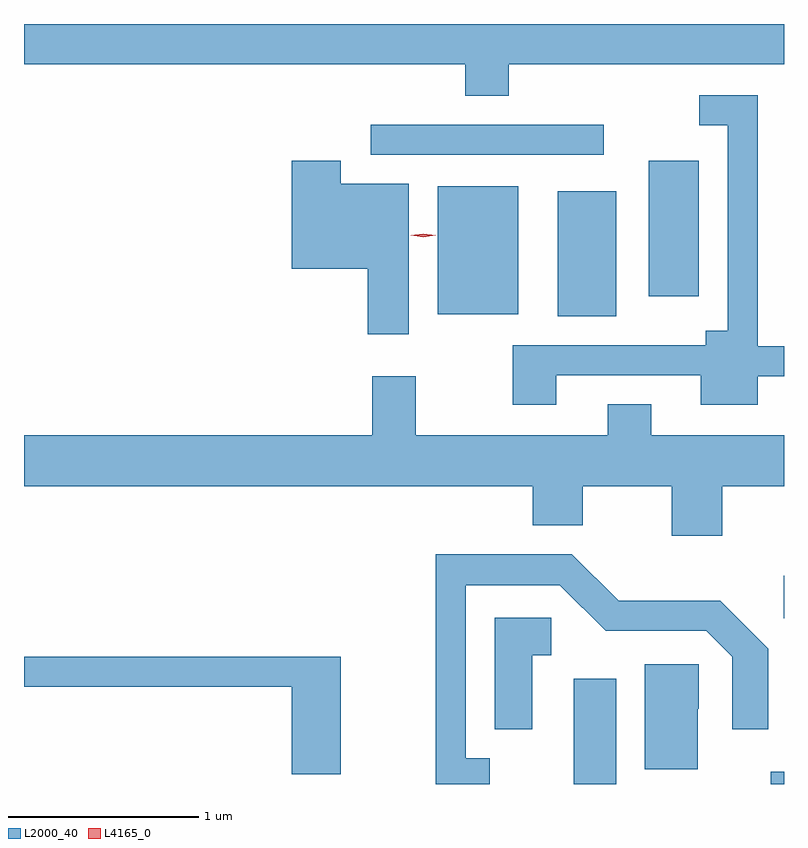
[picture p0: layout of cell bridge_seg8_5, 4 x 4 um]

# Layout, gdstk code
import gdstk
lib = gdstk.Library(unit=1e-6, precision=1e-09)
def R(c, l, rs):  # rectangles x0, y0, x1, y1
    for r in rs: c.add(gdstk.rectangle(r[:2], r[2:], *l))
def P(c, l, *ps):  # polygons
    for p in ps: c.add(gdstk.Polygon(p, *l))
L2000_40 = (2000, 40)
L4165_0 = (4165, 0)

bridge_seg8_5 = lib.new_cell('bridge_seg8_5')
R(bridge_seg8_5, L2000_40, [(1667.521,1890.349,1667.744,1890.904), (1668.558,1890.349,1668.628,1890.414), (1668.626,1891.221,1668.628,1891.445), (1667.436,1892.811,1667.744,1893.469), (1666.806,1892.821,1667.229,1893.494), (1667.916,1892.916,1668.179,1893.629), (1666.453,1893.661,1667.678,1893.819)])
P(bridge_seg8_5, L2000_40, [(1667.179,1894.136),(1668.628,1894.136),(1668.628,1894.349),(1664.628,1894.349),(1664.628,1894.136),(1666.951,1894.136),(1666.951,1893.971),(1667.179,1893.971)],
  [(1667.429,1892.501),(1668.191,1892.501),(1668.191,1892.346),(1668.489,1892.346),(1668.489,1892.496),(1668.628,1892.496),(1668.628,1892.654),(1668.489,1892.654),(1668.489,1893.974),(1668.183,1893.974),(1668.183,1893.816),(1668.331,1893.816),(1668.331,1892.734),(1668.216,1892.734),(1668.216,1892.659),(1667.201,1892.659),(1667.201,1892.346),(1667.429,1892.346)],
  [(1666.654,1893.509),(1666.294,1893.509),(1666.294,1893.629),(1666.036,1893.629),(1666.036,1893.061),(1666.436,1893.061),(1666.436,1892.716),(1666.654,1892.716)],
  [(1668.304,1891.916),(1668.628,1891.916),(1668.628,1892.184),(1667.929,1892.184),(1667.929,1892.349),(1667.701,1892.349),(1667.701,1892.184),(1666.689,1892.184),(1666.689,1892.494),(1666.461,1892.494),(1666.461,1892.184),(1664.628,1892.184),(1664.628,1891.916),(1667.306,1891.916),(1667.306,1891.711),(1667.569,1891.711),(1667.569,1891.916),(1668.036,1891.916),(1668.036,1891.656),(1668.304,1891.656)],
  [(1667.079,1890.484),(1666.954,1890.484),(1666.954,1891.396),(1667.449,1891.396),(1667.689,1891.156),(1668.219,1891.156),(1668.356,1891.019),(1668.356,1890.636),(1668.544,1890.636),(1668.544,1891.062),(1668.292,1891.314),(1667.757,1891.314),(1667.512,1891.559),(1666.796,1891.559),(1666.796,1890.349),(1667.079,1890.349)],
  [(1667.304,1891.026),(1667.404,1891.026),(1667.404,1891.224),(1667.106,1891.224),(1667.106,1890.636),(1667.304,1890.636)],
  [(1666.294,1891.019),(1664.628,1891.019),(1664.628,1890.861),(1666.036,1890.861),(1666.036,1890.401),(1666.294,1890.401)],
  [(1668.174,1890.745),(1668.179,1890.745),(1668.179,1890.979),(1667.896,1890.979),(1667.896,1890.426),(1668.174,1890.426)])
P(bridge_seg8_5, L4165_0, [(1666.73,1893.226),(1666.664,1893.236),(1666.663,1893.236),(1666.664,1893.237),(1666.73,1893.246),(1666.796,1893.237),(1666.796,1893.236),(1666.796,1893.236)])

lib.write_gds('bridge_seg8_5.gds')
